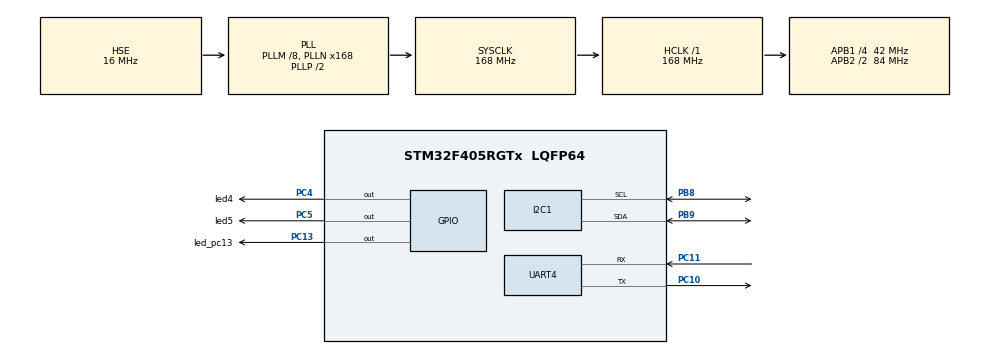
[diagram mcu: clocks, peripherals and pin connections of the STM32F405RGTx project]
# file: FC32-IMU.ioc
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I2C1.I2C_Mode=I2C_Standard
Mcu.Family=STM32F4
Mcu.Name=STM32F405RGTx
Mcu.Package=LQFP64
NVIC.PriorityGroup=NVIC_PRIORITYGROUP_4
NVIC.TIM1_TRG_COM_TIM11_IRQn=true\:0\:0\:false\:false\:true\:true\:true\:true
NVIC.TIM1_UP_TIM10_IRQn=true\:0\:0\:false\:false\:true\:true\:true\:true
PA13.Mode=Serial_Wire
PA13.Signal=SYS_JTMS-SWDIO
PA14.Mode=Serial_Wire
PA14.Signal=SYS_JTCK-SWCLK
PB8.Mode=I2C
PB8.Signal=I2C1_SCL
PB9.Mode=I2C
PB9.Signal=I2C1_SDA
PC10.Mode=Asynchronous
PC10.Signal=UART4_TX
PC11.Mode=Asynchronous
PC11.Signal=UART4_RX
PC13-ANTI_TAMP.GPIO_Label=led_pc13
PC13-ANTI_TAMP.Signal=GPIO_Output
PC4.GPIO_Label=led4
PC4.Signal=GPIO_Output
PC5.GPIO_Label=led5
PC5.Signal=GPIO_Output
PH0-OSC_IN.Mode=HSE-External-Oscillator
PH0-OSC_IN.Signal=RCC_OSC_IN
PH1-OSC_OUT.Mode=HSE-External-Oscillator
PH1-OSC_OUT.Signal=RCC_OSC_OUT
ProjectManager.HeapSize=0x200
ProjectManager.StackSize=0x400
ProjectManager.TargetToolchain=STM32CubeIDE
RCC.48MHZClocksFreq_Value=84000000
RCC.AHBFreq_Value=168000000
RCC.APB1CLKDivider=RCC_HCLK_DIV4
RCC.APB1Freq_Value=42000000
RCC.APB1TimFreq_Value=84000000
RCC.APB2CLKDivider=RCC_HCLK_DIV2
RCC.APB2Freq_Value=84000000
RCC.APB2TimFreq_Value=168000000
RCC.CortexFreq_Value=168000000
RCC.HCLKFreq_Value=168000000
RCC.HSE_VALUE=16000000
RCC.HSI_VALUE=16000000
RCC.LSE_VALUE=32768
RCC.PLLM=8
RCC.PLLN=168
RCC.PLLSourceVirtual=RCC_PLLSOURCE_HSE
RCC.SYSCLKFreq_VALUE=168000000
RCC.SYSCLKSource=RCC_SYSCLKSOURCE_PLLCLK
RCC.VCOOutputFreq_Value=336000000
TIM10.Prescaler=84-1
TIM11.Period=10000-1
TIM11.Prescaler=84-1
UART4.VirtualMode=Asynchronous
VP_TIM10_VS_ClockSourceINT.Mode=Enable_Timer
VP_TIM11_VS_ClockSourceINT.Mode=Enable_Timer
board=custom

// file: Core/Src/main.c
/* USER CODE BEGIN Header */
/**
  ******************************************************************************
  * @file           : main.c
  * @brief          : Main program body
  ******************************************************************************
  * @attention
  *
  * Copyright (c) 2022 STMicroelectronics.
  * All rights reserved.
  *
  * This software is licensed under terms that can be found in the LICENSE file
  * in the root directory of this software component.
  * If no LICENSE file comes with this software, it is provided AS-IS.
  *
  ******************************************************************************
  */
/* USER CODE END Header */
#include "main.h"
#include "i2c.h"
#include "tim.h"
#include "usart.h"
#include "gpio.h"

/* USER CODE BEGIN Includes */
#include "math.h"
#include "stdio.h"
#include "stdbool.h"
/* USER CODE END Includes */

/* USER CODE BEGIN PM */
#define MPU9250_ADDR		0xD0

#define XG_OFFSET_H			0X13
#define XG_OFFSET_L			0X14
#define YG_OFFSET_H			0X15
#define YG_OFFSET_L			0X16
#define ZG_OFFSET_H			0X17
#define ZG_OFFSET_L			0X18

#define SMPLRT_DIV			0x19

#define MPU9250_CONFIG		0X1A
#define GYRO_CONFIG			0X1B
#define ACCEL_CONFIG		0X1C
#define ACCEL_CONFIG_2		0X1D

#define ACCEL_XOUT_H		0X3B
#define ACCEL_XOUT_L		0X3C
#define ACCEL_YOUT_H		0X3D
#define ACCEL_YOUT_L		0X3E
#define ACCEL_ZOUT_H		0X3F
#define ACCEL_ZOUT_L		0X40

#define TEMP_OUT_H			0X41
#define TEMP_OUT_L			0x42

#define GYRO_XOUT_H			0X43
#define GYRO_XOUT_L			0X44
#define GYRO_YOUT_H			0X45
#define GYRO_YOUT_L			0X46
#define GYRO_ZOUT_H			0X47
#define GYRO_ZOUT_L			0X48

#define PWR_MGMT_1			0x6B
#define WHO_AM_I_REG 		0x75

#define XA_OFFSET_H			0X77
#define XA_OFFSET_L			0X78
#define YA_OFFSET_H			0X7A
#define YA_OFFSET_L			0X7B
#define ZA_OFFSET_H			0X7D
#define ZA_OFFSET_L			0X7E

/* USER CODE END PM */

/* USER CODE BEGIN PV */

uint8_t GYRO_DLPF_CFG		= 0X02; 	// Set digital low-pass filter 0x02 to get bandwidth 92Hz
uint8_t ACCEL_DLPF_CFG		= 0X02;		// Set digital low-pass filter 0x02 to get bandwidth 99Hz

uint8_t GYRO_FS				= 0x08;		// +500DPS
uint8_t ACCEL_FS			= 0X10;		// +-8G

uint8_t PWR_CONIG			= 0X00;		// Auto select the best available clock source
uint8_t SMPLRT_CONFIG		= 0X07;		// Sample_Rate = Internal_Sample_Rate/(1+SMPLRT_CONFIG)
										// Sample_Rate = 8Khz/(1+8) = 1Khz
uint8_t MPU9250_RESPONSE_OK	= 0x71;		// Check WHO_AM_I if it is OK it will 0x71 or 113

int gyro_x, gyro_y, gyro_z;
long acc_x, acc_y, acc_z, acc_total_vector;

long gyro_x_cal, gyro_y_cal, gyro_z_cal;

float angle_pitch, angle_roll;
int angle_pitch_buffer, angle_roll_buffer;
bool set_gyro_angles;
float angle_roll_acc, angle_pitch_acc;
float angle_pitch_output, angle_roll_output;

uint8_t MPU9250_Check		= 0;
uint32_t Current_Time		= 0;

uint8_t uart_buff;
uint8_t buf[20] = "Hello\n";
uint8_t MPU_Is_Active		= 0;

/* USER CODE END PV */

void SystemClock_Config(void);
/* USER CODE BEGIN PFP */

void MPU9250_Init(void){
	 if (HAL_I2C_Mem_Read (&hi2c1, MPU9250_ADDR,WHO_AM_I_REG,1, &MPU9250_Check, 1, 1000) == HAL_OK ){
		 if ( MPU9250_Check == MPU9250_RESPONSE_OK ){

			 HAL_I2C_Mem_Write(&hi2c1, MPU9250_ADDR, PWR_MGMT_1, 1, &PWR_CONIG, 1, 100);				// Auto select best available clock source
			 HAL_I2C_Mem_Write(&hi2c1, MPU9250_ADDR, SMPLRT_DIV, 1, &SMPLRT_CONFIG, 1, 100);			// 1Khz sample rate

			 HAL_I2C_Mem_Write(&hi2c1, MPU9250_ADDR, MPU9250_CONFIG, 1, &GYRO_DLPF_CFG, 1, 100);		// Set digital low-pass filter 0x02 to get bandwidth 92Hz
			 HAL_I2C_Mem_Write(&hi2c1, MPU9250_ADDR, ACCEL_CONFIG_2, 1, &ACCEL_DLPF_CFG, 1, 100);		// Set digital low-pass filter 0x02 to get bandwidth 99Hz

			 HAL_I2C_Mem_Write(&hi2c1, MPU9250_ADDR, GYRO_CONFIG, 1, &GYRO_FS, 1, 100);					// Set GYRO to full scale +250DPS
			 HAL_I2C_Mem_Write(&hi2c1, MPU9250_ADDR, GYRO_CONFIG, 1, &ACCEL_FS, 1, 100);				// Set ACCEL to full scale +-2G

		 }

	 }
}

void MPU9250_Read_Data	( void ){

	uint8_t Accel_Val_Raw[6];
	HAL_I2C_Mem_Read(&hi2c1, MPU9250_ADDR, ACCEL_XOUT_H, 1, Accel_Val_Raw, 6, 1000);

	acc_x = (int16_t) (Accel_Val_Raw[0] << 8 | Accel_Val_Raw [1]);
	acc_y = (int16_t) (Accel_Val_Raw[2] << 8 | Accel_Val_Raw [3]);
	acc_z = (int16_t) (Accel_Val_Raw[4] << 8 | Accel_Val_Raw [5]);

	uint8_t Gyro_Val_Raw[6];
	HAL_I2C_Mem_Read(&hi2c1, MPU9250_ADDR, GYRO_XOUT_H, 1, Gyro_Val_Raw, 6, 1000);

	gyro_x = (int16_t) (Gyro_Val_Raw[0] << 8 | Gyro_Val_Raw [1]);
	gyro_y = (int16_t) (Gyro_Val_Raw[2] << 8 | Gyro_Val_Raw [3]);
	gyro_z = (int16_t) (Gyro_Val_Raw[4] << 8 | Gyro_Val_Raw [5]);

}

void debug( float val ){
	  int len = sprintf((char*) buf,"%f\n",val);
	  HAL_UART_Transmit(&huart4, buf, len, 100);
}

/* USER CODE END PFP */

int main(void)
{

  /* MCU Configuration--------------------------------------------------------*/

  /* Reset of all peripherals, Initializes the Flash interface and the Systick. */
  HAL_Init();

  /* Configure the system clock */
  SystemClock_Config();

  /* Initialize all configured peripherals */
  MX_GPIO_Init();
  MX_I2C1_Init();
  MX_TIM10_Init();
  MX_TIM11_Init();
  MX_UART4_Init();
  /* USER CODE BEGIN 2 */
  MPU9250_Init();
  for ( uint16_t i =0 ; i < 2000 ; i++ ){

		  MPU9250_Read_Data();
		  gyro_x_cal += gyro_x;
		  gyro_y_cal += gyro_y;
		  gyro_z_cal += gyro_z;
		  HAL_Delay(3);

  }
  gyro_x_cal /= 2000;
  gyro_y_cal /= 2000;
  gyro_z_cal /= 2000;

  HAL_TIM_Base_Start(&htim10);
  HAL_TIM_Base_Start_IT(&htim11);
  Current_Time = __HAL_TIM_GET_COUNTER(&htim10);
  /* USER CODE END 2 */

  /* Infinite loop */
  /* USER CODE BEGIN WHILE */
  while (1)
  {

//	  debug(Angle_Pitch_Output);
	  HAL_GPIO_TogglePin(led_pc13_GPIO_Port, led_pc13_Pin);
	  HAL_Delay(100);

//	  while( __HAL_TIM_GET_COUNTER(&htim10) - Current_Time < 10000 );
//	  Current_Time = __HAL_TIM_GET_COUNTER(&htim10);

    /* USER CODE END WHILE */

  }
}

void SystemClock_Config(void)
{
  RCC_OscInitTypeDef RCC_OscInitStruct = {0};
  RCC_ClkInitTypeDef RCC_ClkInitStruct = {0};

  /** Configure the main internal regulator output voltage
  */
  __HAL_RCC_PWR_CLK_ENABLE();
  __HAL_PWR_VOLTAGESCALING_CONFIG(PWR_REGULATOR_VOLTAGE_SCALE1);

  /** Initializes the RCC Oscillators according to the specified parameters
  * in the RCC_OscInitTypeDef structure.
  */
  RCC_OscInitStruct.OscillatorType = RCC_OSCILLATORTYPE_HSE;
  RCC_OscInitStruct.HSEState = RCC_HSE_ON;
  RCC_OscInitStruct.PLL.PLLState = RCC_PLL_ON;
  RCC_OscInitStruct.PLL.PLLSource = RCC_PLLSOURCE_HSE;
  RCC_OscInitStruct.PLL.PLLM = 8;
  RCC_OscInitStruct.PLL.PLLN = 168;
  RCC_OscInitStruct.PLL.PLLP = RCC_PLLP_DIV2;
  RCC_OscInitStruct.PLL.PLLQ = 4;
  if (HAL_RCC_OscConfig(&RCC_OscInitStruct) != HAL_OK)
  {
    Error_Handler();
  }

  /** Initializes the CPU, AHB and APB buses clocks
  */
  RCC_ClkInitStruct.ClockType = RCC_CLOCKTYPE_HCLK|RCC_CLOCKTYPE_SYSCLK
                              |RCC_CLOCKTYPE_PCLK1|RCC_CLOCKTYPE_PCLK2;
  RCC_ClkInitStruct.SYSCLKSource = RCC_SYSCLKSOURCE_PLLCLK;
  RCC_ClkInitStruct.AHBCLKDivider = RCC_SYSCLK_DIV1;
  RCC_ClkInitStruct.APB1CLKDivider = RCC_HCLK_DIV4;
  RCC_ClkInitStruct.APB2CLKDivider = RCC_HCLK_DIV2;

  if (HAL_RCC_ClockConfig(&RCC_ClkInitStruct, FLASH_LATENCY_5) != HAL_OK)
  {
    Error_Handler();
  }
}

/* USER CODE BEGIN 4 */
void HAL_TIM_PeriodElapsedCallback(TIM_HandleTypeDef *htim){

	if ( htim == &htim11 ){

		  MPU9250_Read_Data();

		  gyro_x -= gyro_x_cal;
		  gyro_y -= gyro_y_cal;
		  gyro_z -= gyro_z_cal;

		  angle_pitch += gyro_x * 0.0000611;                                   //Calculate the traveled pitch angle and add this to the angle_pitch variable
		  angle_roll += gyro_y * 0.0000611;                                    //Calculate the traveled roll angle and add this to the angle_roll variable
		  //0.000001066 = 0.0000611 * (3.142(PI) / 180degr) The Arduino sin function is in radians
		  angle_pitch += angle_roll * sin(gyro_z * 0.000001066);               //If the IMU has yawed transfer the roll angle to the pitch angel
		  angle_roll -= angle_pitch * sin(gyro_z * 0.000001066);               //If the IMU has yawed transfer the pitch angle to the roll angel

		  //Accelerometer angle calculations
		  acc_total_vector = sqrt((acc_x*acc_x)+(acc_y*acc_y)+(acc_z*acc_z));  //Calculate the total accelerometer vector
		  //57.296 = 1 / (3.142 / 180) The Arduino asin function is in radians
		  angle_pitch_acc = asin((float)acc_y/acc_total_vector)* 57.296;       //Calculate the pitch angle
		  angle_roll_acc = asin((float)acc_x/acc_total_vector)* 57.296;       //Calculate the roll angle

		  //Place the MPU-6050 spirit level and note the values in the following two lines for calibration
		  angle_pitch_acc -= 2.1;                                               //Accelerometer calibration value for pitch
		  angle_roll_acc -= 4.1;                                               //Accelerometer calibration value for roll

		  if(set_gyro_angles){                                                 //If the IMU is already started
		    angle_pitch = angle_pitch * 0.9996 + angle_pitch_acc * 0.0004;     //Correct the drift of the gyro pitch angle with the accelerometer pitch angle
		    angle_roll = angle_roll * 0.9996 + angle_roll_acc * 0.0004;        //Correct the drift of the gyro roll angle with the accelerometer roll angle
		  }
		  else{                                                                //At first start
		    angle_pitch = angle_pitch_acc;                                     //Set the gyro pitch angle equal to the accelerometer pitch angle
		    angle_roll = angle_roll_acc;                                       //Set the gyro roll angle equal to the accelerometer roll angle
		    set_gyro_angles = true;                                            //Set the IMU started flag
		  }

		  //To dampen the pitch and roll angles a complementary filter is used
		  angle_pitch_output = angle_pitch_output * 0.9 + angle_pitch * 0.1;   //Take 90% of the output pitch value and add 10% of the raw pitch value
		  angle_roll_output = angle_roll_output * 0.9 + angle_roll * 0.1;      //Take 90% of the output roll value and add 10% of the raw roll value

	}

}
/* USER CODE END 4 */

void Error_Handler(void)
{
  __disable_irq();
  while (1)
  {
  }
}
